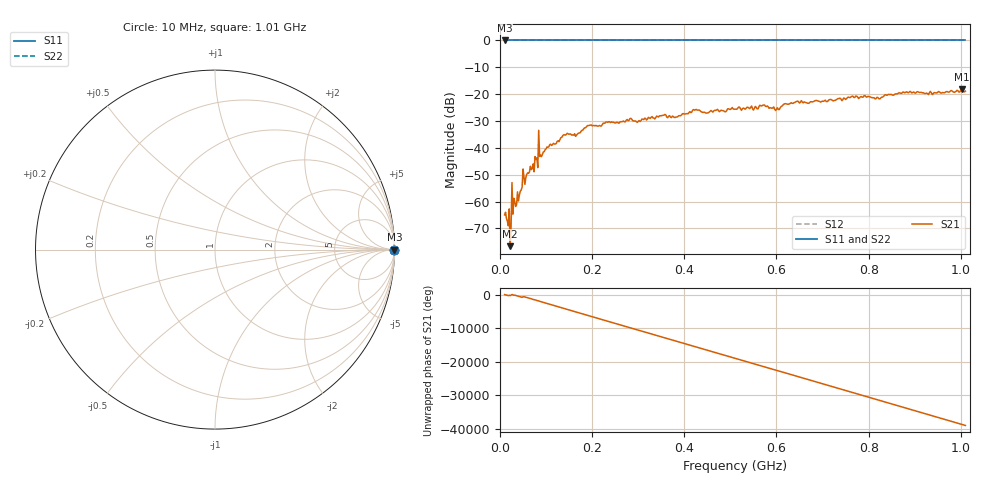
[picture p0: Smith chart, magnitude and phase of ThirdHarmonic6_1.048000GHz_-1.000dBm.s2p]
! 8/16/2025 9:13:09 AM
! C:\ANRITSUVNA\TEMP\TEMP.S2P
! CHANNEL.1
! TR.MEASUREMENT
! RAW.DATA
! RF.CORRECTION.OFF
! AVERAGING.OFF
! IF.BANDWIDTH: 5KHZ
! SWEEPTYPE:  FREQ.SWEEP(Linear)
! Reference Plane Port Info
! PORT:  PORT1  PORT2
! DISTANCE:  0  m  0  m
! TIME:  0  s  0  s
! PHASE.OFFSET:  0  deg.  0  deg.
! LOSS:  0  dB  0  dB
! REF.LOSS:  0  dB  0  dB
! REF.FREQ:  0  Hz  0  Hz
! Power Info
! POWER:  -20  dBm  -20  dBm
! EFF.POWER:  -20  dBm  -20  dBm
! SOURCE.ATTEN:  0  dB  0  dB
! TEST.ATTEN:  0  dB  0  dB
# GHZ S RI R 50.0
! FREQ.GHZ  S11RE  S11IM  S21RE  S21IM  S12RE  S12IM  S22RE  S22IM
!; PortSelection: Port_12
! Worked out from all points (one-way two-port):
!   501 points, 10 MHz to 1.01 GHz, reference 50 ohm
!   highest |S21| = -18.25 dB at 1.002 GHz (marker M1); lowest = -76.6 dB at 22 MHz (marker M2)
!   lowest |S11| = 0.0 dB at 10 MHz (marker M3)
!   |S11| at or under -10 dB: nowhere
!   |S22| runs from 0.0 to 0.0 dB; largest |S21 - S12| = 1.1
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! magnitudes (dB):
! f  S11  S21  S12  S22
! 10 MHz  0.0  -64.9  0.0  0.0
! 16 MHz  0.0  -67.2  0.0  0.0
! 20 MHz  0.0  -62.7  0.0  0.0
! 22 MHz  0.0  -76.6  0.0  0.0
! 26 MHz  0.0  -52.9  0.0  0.0
! 30 MHz  0.0  -58.8  0.0  0.0
! 32 MHz  0.0  -60.0  0.0  0.0
! 38 MHz  0.0  -56.4  0.0  0.0
! 54 MHz  0.0  -53.5  0.0  0.0
! 78 MHz  0.0  -44.3  0.0  0.0
! 80 MHz  0.0  -43.7  0.0  0.0
! 142 MHz  0.0  -35.2  0.0  0.0
! 178 MHz  0.0  -33.5  0.0  0.0
! 194 MHz  0.0  -31.6  0.0  0.0
! 344 MHz  0.0  -28.5  0.0  0.0
! 510 MHz  0.0  -25.6  0.0  0.0
! 570 MHz  0.0  -24.1  0.0  0.0
! 602 MHz  0.0  -25.1  0.0  0.0
! 678 MHz  0.0  -22.8  0.0  0.0
! 844 MHz  0.0  -20.1  0.0  0.0
! 1.002 GHz  0.0  -18.2  0.0  0.0
! 1.01 GHz  0.0  -18.9  0.0  0.0
